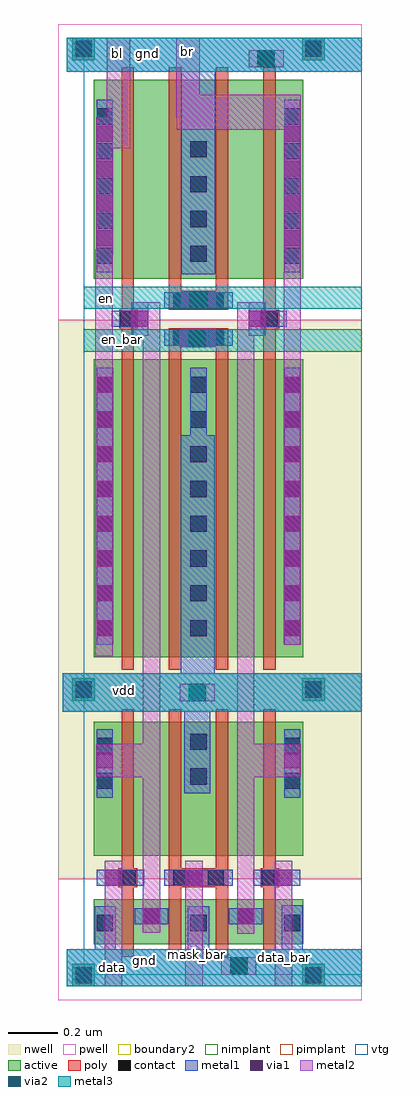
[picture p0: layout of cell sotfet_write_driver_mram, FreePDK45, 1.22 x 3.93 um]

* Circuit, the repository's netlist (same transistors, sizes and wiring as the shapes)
************************************************************************
* auCdl Netlist:
* 
* Library Name:  openram_sot
* Top Cell Name: sotfet_write_driver_mram
* View Name:     schematic
* Netlisted on:  Mar 27 21:02:38 2021
************************************************************************

*.EQUATION
*.SCALE METER
*.MEGA
.PARAM



************************************************************************
* Library Name: openram_sot
* Cell Name:    sotfet_write_driver_mram
* View Name:    schematic
************************************************************************

.SUBCKT sotfet_write_driver_mram bl br data data_bar en en_bar gnd mask_bar vdd
MM14 br_bar mask_bar gnd gnd NMOS_VTG W=180.0n L=50n m=1
MM13 net67 en gnd gnd NMOS_VTG W=800n L=50n m=1
MM7 br_bar data_bar gnd gnd NMOS_VTG W=180.0n L=50n m=1
MM6 br br_bar net67 gnd NMOS_VTG W=800n L=50n m=1
MM4 bl_bar mask_bar gnd gnd NMOS_VTG W=180.0n L=50n m=1
MM3 net66 en gnd gnd NMOS_VTG W=800n L=50n m=1
MM12 bl_bar data gnd gnd NMOS_VTG W=180.0n L=50n m=1
MM0 bl bl_bar net66 gnd NMOS_VTG W=800n L=50n m=1
MM15 br_bar data_bar net63 vdd PMOS_VTG W=540.0n L=50n m=1
MM10 net62 en_bar vdd vdd PMOS_VTG W=1.2u L=50n m=1
MM9 br br_bar net62 vdd PMOS_VTG W=1.2u L=50n m=1
MM8 net63 mask_bar vdd vdd PMOS_VTG W=540.0n L=50n m=1
MM5 bl_bar data net65 vdd PMOS_VTG W=540.0n L=50n m=1
MM2 net64 en_bar vdd vdd PMOS_VTG W=1.2u L=50n m=1
MM1 bl bl_bar net64 vdd PMOS_VTG W=1.2u L=50n m=1
MM11 net65 mask_bar vdd vdd PMOS_VTG W=540.0n L=50n m=1
.ENDS

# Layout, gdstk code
from math import pi, radians
import gdstk
lib = gdstk.Library(unit=1e-6, precision=5e-10)
def R(c, l, rs):  # rectangles x0, y0, x1, y1
    for r in rs: c.add(gdstk.rectangle(r[:2], r[2:], *l))
def A(c, l, x, y, w, h, nx, ny, dx, dy):  # array of equal rectangles
    R(c, l, [(x+i*dx, y+j*dy, x+i*dx+w, y+j*dy+h) for i in range(nx) for j in range(ny)])
active = (1, 0)
pwell = (2, 0)
nwell = (3, 0)
nimplant = (4, 0)
pimplant = (5, 0)
vtg = (6, 0)
poly = (9, 0)
contact = (10, 0)
metal1 = (11, 0)
via1 = (12, 0)
metal2 = (13, 0)
via2 = (14, 0)
metal3 = (15, 0)
boundary2 = (239, 0)

m1_poly_cdns_61705560657 = lib.new_cell('M1_POLY_CDNS_617055606570')
R(m1_poly_cdns_61705560657, poly, [(-0.0375,-0.1075,0.0375,0.1075)])
R(m1_poly_cdns_61705560657, contact, [(-0.0325,-0.1025,0.0325,-0.0375), (-0.0325,0.0375,0.0325,0.1025)])
R(m1_poly_cdns_61705560657, metal1, [(-0.0325,-0.1375,0.0325,0.1375)])

m2_m1_cdns_617055606571 = lib.new_cell('M2_M1_CDNS_617055606571')
R(m2_m1_cdns_617055606571, metal1, [(-0.0325,-0.0675,0.0325,0.0675)])
R(m2_m1_cdns_617055606571, via1, [(-0.0325,-0.0325,0.0325,0.0325)])
R(m2_m1_cdns_617055606571, metal2, [(-0.035,-0.0675,0.035,0.0675)])

m2_m1_cdns_617055606572 = lib.new_cell('M2_M1_CDNS_617055606572')
R(m2_m1_cdns_617055606572, metal1, [(-0.0325,-0.0675,0.0325,0.0675)])
R(m2_m1_cdns_617055606572, via1, [(-0.0325,-0.0325,0.0325,0.0325)])
R(m2_m1_cdns_617055606572, metal2, [(-0.0675,-0.035,0.0675,0.035)])

c_m1_poly_cdns_61705560657 = lib.new_cell('M1_POLY_CDNS_617055606573')
R(c_m1_poly_cdns_61705560657, poly, [(-0.0375,-0.0375,0.0375,0.0375)])
R(c_m1_poly_cdns_61705560657, contact, [(-0.0325,-0.0325,0.0325,0.0325)])
R(c_m1_poly_cdns_61705560657, metal1, [(-0.0325,-0.0675,0.0325,0.0675)])

m1_p_cdns_617055606574 = lib.new_cell('M1_P_CDNS_617055606574')
R(m1_p_cdns_617055606574, active, [(-0.045,-0.1075,0.045,0.1075)])
R(m1_p_cdns_617055606574, pimplant, [(-0.045,-0.1075,0.045,0.1075)])
R(m1_p_cdns_617055606574, contact, [(-0.0325,-0.1025,0.0325,-0.0375), (-0.0325,0.0375,0.0325,0.1025)])
R(m1_p_cdns_617055606574, metal1, [(-0.0325,-0.1375,0.0325,0.1375)])

m1_n_cdns_617055606575 = lib.new_cell('M1_N_CDNS_617055606575')
R(m1_n_cdns_617055606575, active, [(-0.045,-0.2475,0.045,0.2475)])
R(m1_n_cdns_617055606575, nimplant, [(-0.045,-0.2475,0.045,0.2475)])
A(m1_n_cdns_617055606575, contact, -0.0325, -0.2425, 0.065, 0.065, 1, 4, 0, 0.14)
R(m1_n_cdns_617055606575, metal1, [(-0.0325,-0.2775,0.0325,0.2775)])

m2_m1_cdns_617055606576 = lib.new_cell('M2_M1_CDNS_617055606576')
R(m2_m1_cdns_617055606576, metal1, [(-0.0325,-0.5575,0.0325,0.5575)])
A(m2_m1_cdns_617055606576, via1, -0.0325, -0.5225, 0.065, 0.065, 1, 8, 0, 0.14)
R(m2_m1_cdns_617055606576, metal2, [(-0.035,-0.5575,0.035,0.5575)])

m3_m2_cdns_617055606577 = lib.new_cell('M3_M2_CDNS_617055606577')
R(m3_m2_cdns_617055606577, metal2, [(-0.035,-0.07,0.035,0.07)])
R(m3_m2_cdns_617055606577, via2, [(-0.035,-0.035,0.035,0.035)])
R(m3_m2_cdns_617055606577, metal3, [(-0.035,-0.07,0.035,0.07)])

m2_m1_via = lib.new_cell('M2_M1_via')
R(m2_m1_via, metal1, [(-0.0675,-0.0325,0.0675,0.0325)])
R(m2_m1_via, via1, [(-0.0325,-0.0325,0.0325,0.0325)])
R(m2_m1_via, metal2, [(-0.035,-0.0675,0.035,0.0675)])

m1_n_cdns_617055606578 = lib.new_cell('M1_N_CDNS_617055606578')
R(m1_n_cdns_617055606578, active, [(-0.045,-0.3175,0.045,0.3175)])
R(m1_n_cdns_617055606578, nimplant, [(-0.045,-0.3175,0.045,0.3175)])
A(m1_n_cdns_617055606578, contact, -0.0325, -0.3125, 0.065, 0.065, 1, 5, 0, 0.14)
R(m1_n_cdns_617055606578, metal1, [(-0.0325,-0.3475,0.0325,0.3475)])

m2_m1_cdns_617055606579 = lib.new_cell('M2_M1_CDNS_617055606579')
R(m2_m1_cdns_617055606579, metal1, [(-0.0325,-0.2775,0.0325,0.2775)])
A(m2_m1_cdns_617055606579, via1, -0.0325, -0.2425, 0.065, 0.065, 1, 4, 0, 0.14)
R(m2_m1_cdns_617055606579, metal2, [(-0.035,-0.2775,0.035,0.2775)])

m1_p_cdns_6170556065710 = lib.new_cell('M1_P_CDNS_6170556065710')
R(m1_p_cdns_6170556065710, active, [(-0.045,-0.5275,0.045,0.5275)])
R(m1_p_cdns_6170556065710, pimplant, [(-0.045,-0.5275,0.045,0.5275)])
A(m1_p_cdns_6170556065710, contact, -0.0325, -0.5225, 0.065, 0.065, 1, 8, 0, 0.14)
R(m1_p_cdns_6170556065710, metal1, [(-0.0325,-0.5575,0.0325,0.5575)])

sotfet_write_driver_mram = lib.new_cell('sotfet_write_driver_mram')
A(sotfet_write_driver_mram, active, 0.04, 0.21, 0.09, 0.09, 3, 1, 0.3775, 0)
R(sotfet_write_driver_mram, active, [(-0.045,0,0.045,0.09), (0.88,0,0.97,0.09), (0.04,0.17,0.885,0.35), (0.2275,0.2375,0.3175,0.3275), (0.6075,0.2375,0.6975,0.3275), (0.04,0.525,0.885,1.065), (-0.045,1.15,0.045,1.24), (0.88,1.15,0.97,1.24), (0.04,1.325,0.885,2.525), (0.04,2.85,0.885,3.65), (-0.045,3.73,0.045,3.82), (0.88,3.73,0.97,3.82)])
R(sotfet_write_driver_mram, pwell, [(-0.1025,-0.055,1.12,0.4325), (-0.1025,2.6825,1.12,3.875)])
R(sotfet_write_driver_mram, nwell, [(-0.1025,0.4325,1.12,2.6825)])
R(sotfet_write_driver_mram, nimplant, [(0.04,0.17,0.885,0.35), (-0.045,1.15,0.045,1.24), (0.88,1.15,0.97,1.24), (0.04,2.85,0.885,3.65)])
R(sotfet_write_driver_mram, pimplant, [(-0.045,0,0.045,0.09), (0.88,0,0.97,0.09), (0.04,0.525,0.885,1.065), (0.04,1.325,0.885,2.525), (-0.045,3.73,0.045,3.82), (0.88,3.73,0.97,3.82)])
R(sotfet_write_driver_mram, vtg, [(0,0.0475,1.12,3.82)])
A(sotfet_write_driver_mram, poly, 0.1525, 0.12, 0.05, 0.995, 4, 1, 0.19, 0)
R(sotfet_write_driver_mram, poly, [(0.1525,1.275,0.2025,3.7), (0.3425,1.275,0.3925,2.65), (0.5325,1.275,0.5825,2.65), (0.7225,1.275,0.7725,3.7), (0.3425,2.725,0.3925,3.7), (0.5325,2.725,0.5825,3.7)])
A(sotfet_write_driver_mram, contact, 0.0525, 0.2225, 0.065, 0.065, 3, 1, 0.3775, 0)
R(sotfet_write_driver_mram, contact, [(-0.0325,0.0125,0.0325,0.0775), (0.8925,0.0125,0.9575,0.0775), (0.24,0.25,0.305,0.315), (0.62,0.25,0.685,0.315), (-0.0325,1.1625,0.0325,1.2275), (0.8925,1.1625,0.9575,1.2275), (-0.0325,3.7425,0.0325,3.8075), (0.8925,3.7425,0.9575,3.8075)])
R(sotfet_write_driver_mram, metal1, [(-0.0675,0,1.12,0.15), (0.045,0.075,0.13,0.3225), (0.42,0.075,0.505,0.3225), (0.7975,0.075,0.8825,0.3275), (0.0525,0.1875,0.1175,0.3225), (0.43,0.1875,0.495,0.3225), (0.8075,0.2275,0.8725,0.3), (0.585,0.25,0.72,0.315), (0.405,0.7775,0.51,1.175), (-0.085,1.105,1.12,1.26), (0.39,1.2075,0.5275,2.22), (0.3925,2.8675,0.53,3.7825), (-0.0675,3.6825,1.12,3.82)])
R(sotfet_write_driver_mram, metal2, [(0.085,0,0.155,0.47), (0.41,0,0.48,0.505), (0.77,0,0.84,0.4725), (0.6175,0.2125,0.6875,2.755), (0.2375,0.275,0.3075,2.755), (0.0525,0.8425,0.285,0.9775), (0.6425,0.8425,0.875,0.9775), (0.0475,1.33,0.1175,2.9675), (0.805,1.3825,0.875,3.085), (0.0925,3.375,0.1875,3.82), (0.375,3.45,0.875,3.59), (0.3725,3.4975,0.4675,3.82)])
R(sotfet_write_driver_mram, metal3, [(-0.0675,0,1.12,0.15), (-0.085,1.105,1.12,1.26), (0,2.555,1.12,2.645), (0,2.7275,1.12,2.8175), (-0.0675,3.6825,1.12,3.82)])
R(sotfet_write_driver_mram, boundary2, [(0,0,1.12,3.82)])
sotfet_write_driver_mram.add(gdstk.Reference(m1_poly_cdns_61705560657, (0.4625,2.7625), rotation=pi/2))
sotfet_write_driver_mram.add(gdstk.Reference(m1_poly_cdns_61705560657, (0.4625,2.6125), rotation=pi/2))
sotfet_write_driver_mram.add(gdstk.Reference(m1_poly_cdns_61705560657, (0.4625,0.4375), rotation=pi/2))
sotfet_write_driver_mram.add(gdstk.Reference(m2_m1_cdns_617055606571, (0.735,3.735), rotation=pi/2))
sotfet_write_driver_mram.add(gdstk.Reference(m2_m1_cdns_617055606571, (0.6975,2.6875)))
sotfet_write_driver_mram.add(gdstk.Reference(m2_m1_cdns_617055606571, (0.2275,2.6875)))
sotfet_write_driver_mram.add(gdstk.Reference(m2_m1_cdns_617055606571, (0.465,2.7625), rotation=pi/2))
sotfet_write_driver_mram.add(gdstk.Reference(m2_m1_cdns_617055606571, (0.4625,2.6125), rotation=pi/2))
sotfet_write_driver_mram.add(gdstk.Reference(m2_m1_cdns_617055606571, (0.6275,0.0825), rotation=pi/2))
sotfet_write_driver_mram.add(gdstk.Reference(m2_m1_cdns_617055606571, (0.085,0.91)))
sotfet_write_driver_mram.add(gdstk.Reference(m2_m1_cdns_617055606571, (0.84,0.91)))
sotfet_write_driver_mram.add(gdstk.Reference(m2_m1_cdns_617055606572, (0.445,0.4375), rotation=pi/2))
sotfet_write_driver_mram.add(gdstk.Reference(m2_m1_cdns_617055606572, (0.805,0.4375), rotation=pi/2))
sotfet_write_driver_mram.add(gdstk.Reference(m2_m1_cdns_617055606572, (0.12,0.4375), rotation=pi/2))
sotfet_write_driver_mram.add(gdstk.Reference(c_m1_poly_cdns_61705560657, (0.18,2.6875), rotation=pi/2))
sotfet_write_driver_mram.add(gdstk.Reference(c_m1_poly_cdns_61705560657, (0.75,2.6875), rotation=pi/2))
sotfet_write_driver_mram.add(gdstk.Reference(c_m1_poly_cdns_61705560657, (0.75,0.4375), rotation=pi/2))
sotfet_write_driver_mram.add(gdstk.Reference(c_m1_poly_cdns_61705560657, (0.1775,0.4375), rotation=pi/2))
sotfet_write_driver_mram.add(gdstk.Reference(m1_p_cdns_617055606574, (0.84,0.8975)))
sotfet_write_driver_mram.add(gdstk.Reference(m1_p_cdns_617055606574, (0.4625,0.915)))
sotfet_write_driver_mram.add(gdstk.Reference(m1_p_cdns_617055606574, (0.085,0.8975)))
sotfet_write_driver_mram.add(gdstk.Reference(m1_n_cdns_617055606575, (0.4625,3.16)))
sotfet_write_driver_mram.add(gdstk.Reference(m2_m1_cdns_617055606576, (0.84,1.9325)))
sotfet_write_driver_mram.add(gdstk.Reference(m2_m1_cdns_617055606576, (0.085,1.9325)))
sotfet_write_driver_mram.add(gdstk.Reference(m3_m2_cdns_617055606577, (0.735,3.735), rotation=pi/2))
sotfet_write_driver_mram.add(gdstk.Reference(m3_m2_cdns_617055606577, (0.4575,1.1825), rotation=pi/2))
sotfet_write_driver_mram.add(gdstk.Reference(m3_m2_cdns_617055606577, (0.4575,2.6075), rotation=pi/2))
sotfet_write_driver_mram.add(gdstk.Reference(m3_m2_cdns_617055606577, (0.4625,2.7625), rotation=pi/2))
sotfet_write_driver_mram.add(gdstk.Reference(m3_m2_cdns_617055606577, (0.625,0.0825), rotation=pi/2))
sotfet_write_driver_mram.add(gdstk.Reference(m2_m1_via, (0.6525,0.2825)))
sotfet_write_driver_mram.add(gdstk.Reference(m2_m1_via, (0.2725,0.2825)))
sotfet_write_driver_mram.add(gdstk.Reference(m1_n_cdns_617055606578, (0.84,3.2225)))
sotfet_write_driver_mram.add(gdstk.Reference(m1_n_cdns_617055606578, (0.085,3.2225)))
sotfet_write_driver_mram.add(gdstk.Reference(m2_m1_cdns_617055606579, (0.84,3.2225)))
sotfet_write_driver_mram.add(gdstk.Reference(m2_m1_cdns_617055606579, (0.085,3.2225)))
sotfet_write_driver_mram.add(gdstk.Reference(m1_p_cdns_6170556065710, (0.84,1.9325)))
sotfet_write_driver_mram.add(gdstk.Reference(m1_p_cdns_6170556065710, (0.4625,1.9325)))
sotfet_write_driver_mram.add(gdstk.Reference(m1_p_cdns_6170556065710, (0.085,1.9325)))
sotfet_write_driver_mram.add(gdstk.Label('gnd', (0.245,0.105), layer=11, texttype=0))
sotfet_write_driver_mram.add(gdstk.Label('gnd', (0.2575,3.7575), layer=11, texttype=0))
sotfet_write_driver_mram.add(gdstk.Label('vdd', (0.1625,1.1925), layer=11, texttype=0))
sotfet_write_driver_mram.add(gdstk.Label('bl', (0.1375,3.755), layer=13, texttype=0))
sotfet_write_driver_mram.add(gdstk.Label('br', (0.4175,3.7625), layer=13, texttype=0))
sotfet_write_driver_mram.add(gdstk.Label('mask_bar', (0.4525,0.1275), layer=13, texttype=0))
sotfet_write_driver_mram.add(gdstk.Label('data_bar', (0.8075,0.1175), layer=13, texttype=0))
sotfet_write_driver_mram.add(gdstk.Label('data', (0.1175,0.0775), layer=13, texttype=0))
sotfet_write_driver_mram.add(gdstk.Label('en_bar', (0.155,2.605), layer=15, texttype=0))
sotfet_write_driver_mram.add(gdstk.Label('en', (0.09,2.77), layer=15, texttype=0))

lib.write_gds('sotfet_write_driver_mram.gds')
